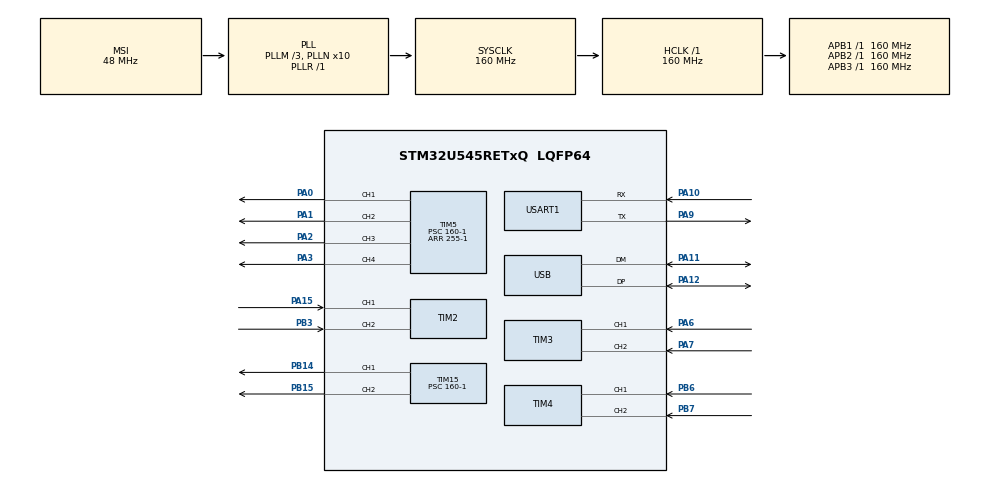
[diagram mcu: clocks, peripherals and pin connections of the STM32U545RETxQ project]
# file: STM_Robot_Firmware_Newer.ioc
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CORTEX_M33_NS.userName=CORTEX_M33
Mcu.Family=STM32U5
Mcu.Name=STM32U545RETxQ
Mcu.Package=LQFP64
NVIC.PriorityGroup=NVIC_PRIORITYGROUP_4
NVIC.TIM2_IRQn=true\:0\:0\:false\:false\:true\:false\:true\:true\:true
NVIC.TIM3_IRQn=true\:0\:0\:false\:false\:true\:false\:true\:true\:true
NVIC.TIM4_IRQn=true\:0\:0\:false\:false\:true\:false\:true\:true\:true
NVIC.TIM6_IRQn=true\:15\:0\:false\:false\:true\:false\:false\:true\:true
NVIC.TimeBase=TIM6_IRQn
NVIC.TimeBaseIP=TIM6
NVIC.USB_IRQn=true\:7\:0\:true\:false\:true\:false\:true\:true\:true
PA0.Signal=S_TIM5_CH1
PA1.Signal=S_TIM5_CH2
PA10.Mode=Asynchronous
PA10.Signal=USART1_RX
PA11.Mode=Device
PA11.Signal=USB_DM
PA12.Mode=Device
PA12.Signal=USB_DP
PA15\ (JTDI).Signal=S_TIM2_CH1
PA2.Signal=S_TIM5_CH3
PA3.Signal=S_TIM5_CH4
PA6.Signal=S_TIM3_CH1
PA7.Signal=S_TIM3_CH2
PA9.Mode=Asynchronous
PA9.Signal=USART1_TX
PB14.Signal=S_TIM15_CH1
PB15.Signal=S_TIM15_CH2
PB3\ (JTDO/TRACESWO).Signal=S_TIM2_CH2
PB6.Signal=S_TIM4_CH1
PB7.Signal=S_TIM4_CH2
PH0-OSC_IN\ (PH0).Mode=HSE-External-Clock-Source
PH0-OSC_IN\ (PH0).Signal=RCC_OSC_IN
PWR.PowerMode=PWR_SMPS_SUPPLY
ProjectManager.HeapSize=0x200
ProjectManager.StackSize=0x400
ProjectManager.TargetToolchain=STM32CubeIDE
RCC.ADCFreq_Value=16000000
RCC.AHBFreq_Value=160000000
RCC.APB1Freq_Value=160000000
RCC.APB1TimFreq_Value=160000000
RCC.APB2Freq_Value=160000000
RCC.APB2TimFreq_Value=160000000
RCC.APB3Freq_Value=160000000
RCC.CortexFreq_Value=160000000
RCC.DACCLockSelectionVirtual=RCC_DAC1CLKSOURCE_LSI
RCC.DACCLockSelectionVirtualString=RCC_DAC1CLKSOURCE_LSI
RCC.EPOD_VALUE=48000000
RCC.HCLKFreq_Value=160000000
RCC.HSE_VALUE=16000000
RCC.HSI48_VALUE=48000000
RCC.HSI_VALUE=16000000
RCC.LSE_VALUE=32768
RCC.LSIDIV_VALUE=32000
RCC.MSIClockRange=RCC_MSIRANGE_0
RCC.MSI_VALUE=48000000
RCC.PLL1R=1
RCC.PLL2FRACN=0
RCC.PLL3FRACN=0
RCC.PLLFRACN=0
RCC.PLLM=3
RCC.PLLN=10
RCC.SYSCLKFreq_VALUE=160000000
RCC.SYSCLKSource=RCC_SYSCLKSOURCE_PLLCLK
RCC.USBFreq_Value=48000000
RCC.VCOOutputFreq_Value=160000000
SH.S_TIM15_CH1.0=TIM15_CH1,PWM Generation1 CH1
SH.S_TIM15_CH2.0=TIM15_CH2,PWM Generation2 CH2
SH.S_TIM2_CH1.0=TIM2_CH1,Encoder_Interface
SH.S_TIM2_CH2.0=TIM2_CH2,Encoder_Interface
SH.S_TIM3_CH1.0=TIM3_CH1,Encoder_Interface
SH.S_TIM3_CH2.0=TIM3_CH2,Encoder_Interface
SH.S_TIM4_CH1.0=TIM4_CH1,Encoder_Interface
SH.S_TIM4_CH2.0=TIM4_CH2,Encoder_Interface
SH.S_TIM5_CH1.0=TIM5_CH1,PWM Generation1 CH1
SH.S_TIM5_CH2.0=TIM5_CH2,PWM Generation2 CH2
SH.S_TIM5_CH3.0=TIM5_CH3,PWM Generation3 CH3
SH.S_TIM5_CH4.0=TIM5_CH4,PWM Generation4 CH4
TIM15.Channel-PWM\ Generation1\ CH1=TIM_CHANNEL_1
TIM15.Channel-PWM\ Generation2\ CH2=TIM_CHANNEL_2
TIM15.PeriodNoDither=255-1
TIM15.Prescaler=160-1
TIM2.EncoderMode=TIM_ENCODERMODE_TI12
TIM3.EncoderMode=TIM_ENCODERMODE_TI12
TIM4.EncoderMode=TIM_ENCODERMODE_TI12
TIM5.Channel-PWM\ Generation1\ CH1=TIM_CHANNEL_1
TIM5.Channel-PWM\ Generation2\ CH2=TIM_CHANNEL_2
TIM5.Channel-PWM\ Generation3\ CH3=TIM_CHANNEL_3
TIM5.Channel-PWM\ Generation4\ CH4=TIM_CHANNEL_4
TIM5.PeriodNoDither=255-1
TIM5.Prescaler=160-1
USART1.VirtualMode-Asynchronous=VM_ASYNC
USBX.Core_System=1
USBX.MAX_POWER_IN_MILLI_AMPER=0
USBX.USBD_CDCACM_EPINCMD_ADDR=2
USBX.USBD_CDCACM_EPIN_ADDR=1
USBX.USBD_PID=22336
USBX.USBD_PRODUCT_STRING=STM32 Virtual ComPort
USBX.USBD_SERIAL_NUMBER=CDC_ACM001
USBX.USBX_DEVICE_SYS_SIZE=6*1024
USBX.UX_DEVICE_APP_MEM_POOL_SIZE=15*1024
USBX.UX_DEVICE_CDC_ACM=1
USBX.UX_DEVICE_CLASS_CDC_ACM_WRITE_AUTO_ZLP=1
USBX.UX_Device_Controller=1
USBX.UX_Device_CoreStack=1
USBX.UX_MAX_SLAVE_CLASS_DRIVER=1
USBX.UX_SLAVE_REQUEST_DATA_MAX_LENGTH=512
VP_ICACHE_VS_ICACHE.Mode=DirectMappedCache
VP_LPBAMQUEUE_VS_QUEUE.Mode=QUEUEMODE
VP_LPBAM_VS_SIG1.Mode=SmartRun
VP_LPBAM_VS_SIG4.Mode=LPDMA1
VP_MEMORYMAP_VS_MEMORYMAP.Mode=CurAppReg
VP_PWR_VS_DBSignals.Mode=DisableDeadBatterySignals
VP_PWR_VS_LPOM.Mode=PowerOptimisation
VP_PWR_VS_SECSignals.Mode=Security/Privilege
VP_RCC_USB.Mode=CRS SYNC Source USB
VP_SYS_VS_tim6.Mode=TIM6
VP_THREADX_VS_RTOSJjThreadXJjCoreJjDefault.Mode=Core_Default
VP_TIM15_VS_ClockSourceINT.Mode=Internal
VP_TIM5_VS_ClockSourceINT.Mode=Internal
VP_USBX_Core_System.Mode=Core_System
VP_USBX_UX\ Device\ CDC\ ACM\ Class_FS.Mode=UX_Device_class_CDC_ACM_FS
VP_USBX_UX\ Device\ Controller_FS.Mode=UX_Device_Controller_FS
VP_USBX_UX\ Device\ CoreStack_FS.Mode=UX_Device_CoreStack_FS
board=custom

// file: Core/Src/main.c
/* USER CODE BEGIN Header */
/**
  ******************************************************************************
  * @file           : main.c
  * @brief          : Main program body
  ******************************************************************************
  * @attention
  *
  * Copyright (c) 2025 STMicroelectronics.
  * All rights reserved.
  *
  * This software is licensed under terms that can be found in the LICENSE file
  * in the root directory of this software component.
  * If no LICENSE file comes with this software, it is provided AS-IS.
  *
  ******************************************************************************
  */
/* USER CODE END Header */
#include "app_threadx.h"
#include "main.h"

/* USER CODE BEGIN Includes */

#include "pin_mapping.h"
#include "robot_data.h"
#include "stdio.h"

/* USER CODE END Includes */

TIM_HandleTypeDef htim2;
TIM_HandleTypeDef htim3;
TIM_HandleTypeDef htim4;
TIM_HandleTypeDef htim5;
TIM_HandleTypeDef htim15;

UART_HandleTypeDef huart1;

PCD_HandleTypeDef hpcd_USB_DRD_FS;

/* USER CODE BEGIN PV */

MotorData motors_data[3];

/* USER CODE END PV */

void SystemClock_Config(void);
static void SystemPower_Config(void);
static void MX_GPIO_Init(void);
static void MX_ICACHE_Init(void);
static void MX_TIM2_Init(void);
static void MX_TIM3_Init(void);
static void MX_TIM4_Init(void);
static void MX_TIM5_Init(void);
static void MX_TIM15_Init(void);
static void MX_USART1_UART_Init(void);

/* USER CODE BEGIN 0 */

void HAL_TIM_IC_CaptureCallback(TIM_HandleTypeDef *htim)
{
	if(htim == ENCODER_0)
	{
		motors_data[0].encoder_actual_count = __HAL_TIM_GET_COUNTER(htim)/4;
		if(ENCODERS_DIRECTION[0] == -1)
		{
			motors_data[0].encoder_actual_count = 0xFFFFFFFF/4 - motors_data[0].encoder_actual_count;
		}
	}
	else if (htim == ENCODER_1)
	{
		motors_data[1].encoder_actual_count = __HAL_TIM_GET_COUNTER(htim)/4;
		if(ENCODERS_DIRECTION[1] == -1)
		{
			motors_data[1].encoder_actual_count = 0xFFFFFFFF/4 - __HAL_TIM_GET_COUNTER(htim)/4;
		}
		else motors_data[1].encoder_actual_count = __HAL_TIM_GET_COUNTER(htim)/4;
	}
	else
	{
		motors_data[2].encoder_actual_count = __HAL_TIM_GET_COUNTER(htim)/4;
		if(ENCODERS_DIRECTION[2] == -1)
		{
			motors_data[2].encoder_actual_count = 0xFFFFFFFF/4 - motors_data[2].encoder_actual_count;
		}

	}
}

/* USER CODE END 0 */

int main(void)
{

  /* MCU Configuration--------------------------------------------------------*/

  /* Reset of all peripherals, Initializes the Flash interface and the Systick. */
  HAL_Init();

  /* USER CODE BEGIN Init */

  Init_Motors_Data();

  /* USER CODE END Init */

  /* Configure the System Power */
  SystemPower_Config();

  /* Configure the system clock */
  SystemClock_Config();

  /* Initialize all configured peripherals */
  MX_GPIO_Init();
  MX_ICACHE_Init();
  MX_TIM2_Init();
  MX_TIM3_Init();
  MX_TIM4_Init();
  MX_TIM5_Init();
  MX_TIM15_Init();
  MX_USART1_UART_Init();
  /* USER CODE BEGIN 2 */

	HAL_TIM_Encoder_Start_IT(ENCODER_0, TIM_CHANNEL_ALL);
	HAL_TIM_Encoder_Start_IT(ENCODER_1, TIM_CHANNEL_ALL);
	HAL_TIM_Encoder_Start_IT(ENCODER_2, TIM_CHANNEL_ALL);

  HAL_TIM_PWM_Start(&htim5, TIM_CHANNEL_1);
  HAL_TIM_PWM_Start(&htim5, TIM_CHANNEL_2);
  HAL_TIM_PWM_Start(&htim5, TIM_CHANNEL_3);
  HAL_TIM_PWM_Start(&htim5, TIM_CHANNEL_4);
  HAL_TIM_PWM_Start(&htim15, TIM_CHANNEL_1);
  HAL_TIM_PWM_Start(&htim15, TIM_CHANNEL_2);

//  int test = 1;
//  printf((char* )test);
//  HAL_UART_Transmit(&huart1,(uint8_t *)"\r", sizeof("\r"), 1000);
  /* USER CODE END 2 */

  MX_ThreadX_Init();

  /* We should never get here as control is now taken by the scheduler */

  /* Infinite loop */
  while (1)
  {

  }
}

void SystemClock_Config(void)
{
  RCC_OscInitTypeDef RCC_OscInitStruct = {0};
  RCC_ClkInitTypeDef RCC_ClkInitStruct = {0};
  RCC_CRSInitTypeDef RCC_CRSInitStruct = {0};

  /** Configure the main internal regulator output voltage
  */
  if (HAL_PWREx_ControlVoltageScaling(PWR_REGULATOR_VOLTAGE_SCALE1) != HAL_OK)
  {
    Error_Handler();
  }

  /** Initializes the CPU, AHB and APB buses clocks
  */
  RCC_OscInitStruct.OscillatorType = RCC_OSCILLATORTYPE_HSI48|RCC_OSCILLATORTYPE_MSI;
  RCC_OscInitStruct.HSI48State = RCC_HSI48_ON;
  RCC_OscInitStruct.MSIState = RCC_MSI_ON;
  RCC_OscInitStruct.MSICalibrationValue = RCC_MSICALIBRATION_DEFAULT;
  RCC_OscInitStruct.MSIClockRange = RCC_MSIRANGE_0;
  RCC_OscInitStruct.PLL.PLLState = RCC_PLL_ON;
  RCC_OscInitStruct.PLL.PLLSource = RCC_PLLSOURCE_MSI;
  RCC_OscInitStruct.PLL.PLLMBOOST = RCC_PLLMBOOST_DIV4;
  RCC_OscInitStruct.PLL.PLLM = 3;
  RCC_OscInitStruct.PLL.PLLN = 10;
  RCC_OscInitStruct.PLL.PLLP = 2;
  RCC_OscInitStruct.PLL.PLLQ = 2;
  RCC_OscInitStruct.PLL.PLLR = 1;
  RCC_OscInitStruct.PLL.PLLRGE = RCC_PLLVCIRANGE_1;
  RCC_OscInitStruct.PLL.PLLFRACN = 0;
  if (HAL_RCC_OscConfig(&RCC_OscInitStruct) != HAL_OK)
  {
    Error_Handler();
  }

  /** Initializes the CPU, AHB and APB buses clocks
  */
  RCC_ClkInitStruct.ClockType = RCC_CLOCKTYPE_HCLK|RCC_CLOCKTYPE_SYSCLK
                              |RCC_CLOCKTYPE_PCLK1|RCC_CLOCKTYPE_PCLK2
                              |RCC_CLOCKTYPE_PCLK3;
  RCC_ClkInitStruct.SYSCLKSource = RCC_SYSCLKSOURCE_PLLCLK;
  RCC_ClkInitStruct.AHBCLKDivider = RCC_SYSCLK_DIV1;
  RCC_ClkInitStruct.APB1CLKDivider = RCC_HCLK_DIV1;
  RCC_ClkInitStruct.APB2CLKDivider = RCC_HCLK_DIV1;
  RCC_ClkInitStruct.APB3CLKDivider = RCC_HCLK_DIV1;

  if (HAL_RCC_ClockConfig(&RCC_ClkInitStruct, FLASH_LATENCY_4) != HAL_OK)
  {
    Error_Handler();
  }

  /** Enable the SYSCFG APB clock
  */
  __HAL_RCC_CRS_CLK_ENABLE();

  /** Configures CRS
  */
  RCC_CRSInitStruct.Prescaler = RCC_CRS_SYNC_DIV1;
  RCC_CRSInitStruct.Source = RCC_CRS_SYNC_SOURCE_USB;
  RCC_CRSInitStruct.Polarity = RCC_CRS_SYNC_POLARITY_RISING;
  RCC_CRSInitStruct.ReloadValue = __HAL_RCC_CRS_RELOADVALUE_CALCULATE(48000000,1000);
  RCC_CRSInitStruct.ErrorLimitValue = 34;
  RCC_CRSInitStruct.HSI48CalibrationValue = 32;

  HAL_RCCEx_CRSConfig(&RCC_CRSInitStruct);
}

/**
  * @brief Power Configuration
  * @retval None
  */
static void SystemPower_Config(void)
{

  /*
   * Switch to SMPS regulator instead of LDO
   */
  if (HAL_PWREx_ConfigSupply(PWR_SMPS_SUPPLY) != HAL_OK)
  {
    Error_Handler();
  }
}

static void MX_ICACHE_Init(void)
{

  /** Enable instruction cache in 1-way (direct mapped cache)
  */
  if (HAL_ICACHE_ConfigAssociativityMode(ICACHE_1WAY) != HAL_OK)
  {
    Error_Handler();
  }
  if (HAL_ICACHE_Enable() != HAL_OK)
  {
    Error_Handler();
  }

}

static void MX_TIM2_Init(void)
{

  TIM_Encoder_InitTypeDef sConfig = {0};
  TIM_MasterConfigTypeDef sMasterConfig = {0};

  htim2.Instance = TIM2;
  htim2.Init.Prescaler = 0;
  htim2.Init.CounterMode = TIM_COUNTERMODE_UP;
  htim2.Init.Period = 4294967295;
  htim2.Init.ClockDivision = TIM_CLOCKDIVISION_DIV1;
  htim2.Init.AutoReloadPreload = TIM_AUTORELOAD_PRELOAD_DISABLE;
  sConfig.EncoderMode = TIM_ENCODERMODE_TI12;
  sConfig.IC1Polarity = TIM_ICPOLARITY_RISING;
  sConfig.IC1Selection = TIM_ICSELECTION_DIRECTTI;
  sConfig.IC1Prescaler = TIM_ICPSC_DIV1;
  sConfig.IC1Filter = 0;
  sConfig.IC2Polarity = TIM_ICPOLARITY_RISING;
  sConfig.IC2Selection = TIM_ICSELECTION_DIRECTTI;
  sConfig.IC2Prescaler = TIM_ICPSC_DIV1;
  sConfig.IC2Filter = 0;
  if (HAL_TIM_Encoder_Init(&htim2, &sConfig) != HAL_OK)
  {
    Error_Handler();
  }
  sMasterConfig.MasterOutputTrigger = TIM_TRGO_RESET;
  sMasterConfig.MasterSlaveMode = TIM_MASTERSLAVEMODE_DISABLE;
  if (HAL_TIMEx_MasterConfigSynchronization(&htim2, &sMasterConfig) != HAL_OK)
  {
    Error_Handler();
  }

}

static void MX_TIM3_Init(void)
{

  TIM_Encoder_InitTypeDef sConfig = {0};
  TIM_MasterConfigTypeDef sMasterConfig = {0};

  htim3.Instance = TIM3;
  htim3.Init.Prescaler = 0;
  htim3.Init.CounterMode = TIM_COUNTERMODE_UP;
  htim3.Init.Period = 4294967295;
  htim3.Init.ClockDivision = TIM_CLOCKDIVISION_DIV1;
  htim3.Init.AutoReloadPreload = TIM_AUTORELOAD_PRELOAD_DISABLE;
  sConfig.EncoderMode = TIM_ENCODERMODE_TI12;
  sConfig.IC1Polarity = TIM_ICPOLARITY_RISING;
  sConfig.IC1Selection = TIM_ICSELECTION_DIRECTTI;
  sConfig.IC1Prescaler = TIM_ICPSC_DIV1;
  sConfig.IC1Filter = 0;
  sConfig.IC2Polarity = TIM_ICPOLARITY_RISING;
  sConfig.IC2Selection = TIM_ICSELECTION_DIRECTTI;
  sConfig.IC2Prescaler = TIM_ICPSC_DIV1;
  sConfig.IC2Filter = 0;
  if (HAL_TIM_Encoder_Init(&htim3, &sConfig) != HAL_OK)
  {
    Error_Handler();
  }
  sMasterConfig.MasterOutputTrigger = TIM_TRGO_RESET;
  sMasterConfig.MasterSlaveMode = TIM_MASTERSLAVEMODE_DISABLE;
  if (HAL_TIMEx_MasterConfigSynchronization(&htim3, &sMasterConfig) != HAL_OK)
  {
    Error_Handler();
  }

}

static void MX_TIM4_Init(void)
{

  TIM_Encoder_InitTypeDef sConfig = {0};
  TIM_MasterConfigTypeDef sMasterConfig = {0};

  htim4.Instance = TIM4;
  htim4.Init.Prescaler = 0;
  htim4.Init.CounterMode = TIM_COUNTERMODE_UP;
  htim4.Init.Period = 4294967295;
  htim4.Init.ClockDivision = TIM_CLOCKDIVISION_DIV1;
  htim4.Init.AutoReloadPreload = TIM_AUTORELOAD_PRELOAD_DISABLE;
  sConfig.EncoderMode = TIM_ENCODERMODE_TI12;
  sConfig.IC1Polarity = TIM_ICPOLARITY_RISING;
  sConfig.IC1Selection = TIM_ICSELECTION_DIRECTTI;
  sConfig.IC1Prescaler = TIM_ICPSC_DIV1;
  sConfig.IC1Filter = 0;
  sConfig.IC2Polarity = TIM_ICPOLARITY_RISING;
  sConfig.IC2Selection = TIM_ICSELECTION_DIRECTTI;
  sConfig.IC2Prescaler = TIM_ICPSC_DIV1;
  sConfig.IC2Filter = 0;
  if (HAL_TIM_Encoder_Init(&htim4, &sConfig) != HAL_OK)
  {
    Error_Handler();
  }
  sMasterConfig.MasterOutputTrigger = TIM_TRGO_RESET;
  sMasterConfig.MasterSlaveMode = TIM_MASTERSLAVEMODE_DISABLE;
  if (HAL_TIMEx_MasterConfigSynchronization(&htim4, &sMasterConfig) != HAL_OK)
  {
    Error_Handler();
  }

}

static void MX_TIM5_Init(void)
{

  TIM_ClockConfigTypeDef sClockSourceConfig = {0};
  TIM_MasterConfigTypeDef sMasterConfig = {0};
  TIM_OC_InitTypeDef sConfigOC = {0};

  htim5.Instance = TIM5;
  htim5.Init.Prescaler = 160-1;
  htim5.Init.CounterMode = TIM_COUNTERMODE_UP;
  htim5.Init.Period = 254;
  htim5.Init.ClockDivision = TIM_CLOCKDIVISION_DIV1;
  htim5.Init.AutoReloadPreload = TIM_AUTORELOAD_PRELOAD_DISABLE;
  if (HAL_TIM_Base_Init(&htim5) != HAL_OK)
  {
    Error_Handler();
  }
  sClockSourceConfig.ClockSource = TIM_CLOCKSOURCE_INTERNAL;
  if (HAL_TIM_ConfigClockSource(&htim5, &sClockSourceConfig) != HAL_OK)
  {
    Error_Handler();
  }
  if (HAL_TIM_PWM_Init(&htim5) != HAL_OK)
  {
    Error_Handler();
  }
  sMasterConfig.MasterOutputTrigger = TIM_TRGO_RESET;
  sMasterConfig.MasterSlaveMode = TIM_MASTERSLAVEMODE_DISABLE;
  if (HAL_TIMEx_MasterConfigSynchronization(&htim5, &sMasterConfig) != HAL_OK)
  {
    Error_Handler();
  }
  sConfigOC.OCMode = TIM_OCMODE_PWM1;
  sConfigOC.Pulse = 0;
  sConfigOC.OCPolarity = TIM_OCPOLARITY_HIGH;
  sConfigOC.OCFastMode = TIM_OCFAST_DISABLE;
  if (HAL_TIM_PWM_ConfigChannel(&htim5, &sConfigOC, TIM_CHANNEL_1) != HAL_OK)
  {
    Error_Handler();
  }
  if (HAL_TIM_PWM_ConfigChannel(&htim5, &sConfigOC, TIM_CHANNEL_2) != HAL_OK)
  {
    Error_Handler();
  }
  if (HAL_TIM_PWM_ConfigChannel(&htim5, &sConfigOC, TIM_CHANNEL_3) != HAL_OK)
  {
    Error_Handler();
  }
  if (HAL_TIM_PWM_ConfigChannel(&htim5, &sConfigOC, TIM_CHANNEL_4) != HAL_OK)
  {
    Error_Handler();
  }
  HAL_TIM_MspPostInit(&htim5);

}

static void MX_TIM15_Init(void)
{

  TIM_ClockConfigTypeDef sClockSourceConfig = {0};
  TIM_MasterConfigTypeDef sMasterConfig = {0};
  TIM_OC_InitTypeDef sConfigOC = {0};
  TIM_BreakDeadTimeConfigTypeDef sBreakDeadTimeConfig = {0};

  htim15.Instance = TIM15;
  htim15.Init.Prescaler = 160-1;
  htim15.Init.CounterMode = TIM_COUNTERMODE_UP;
  htim15.Init.Period = 254;
  htim15.Init.ClockDivision = TIM_CLOCKDIVISION_DIV1;
  htim15.Init.RepetitionCounter = 0;
  htim15.Init.AutoReloadPreload = TIM_AUTORELOAD_PRELOAD_DISABLE;
  if (HAL_TIM_Base_Init(&htim15) != HAL_OK)
  {
    Error_Handler();
  }
  sClockSourceConfig.ClockSource = TIM_CLOCKSOURCE_INTERNAL;
  if (HAL_TIM_ConfigClockSource(&htim15, &sClockSourceConfig) != HAL_OK)
  {
    Error_Handler();
  }
  if (HAL_TIM_PWM_Init(&htim15) != HAL_OK)
  {
    Error_Handler();
  }
  sMasterConfig.MasterOutputTrigger = TIM_TRGO_RESET;
  sMasterConfig.MasterSlaveMode = TIM_MASTERSLAVEMODE_DISABLE;
  if (HAL_TIMEx_MasterConfigSynchronization(&htim15, &sMasterConfig) != HAL_OK)
  {
    Error_Handler();
  }
  sConfigOC.OCMode = TIM_OCMODE_PWM1;
  sConfigOC.Pulse = 0;
  sConfigOC.OCPolarity = TIM_OCPOLARITY_HIGH;
  sConfigOC.OCNPolarity = TIM_OCNPOLARITY_HIGH;
  sConfigOC.OCFastMode = TIM_OCFAST_DISABLE;
  sConfigOC.OCIdleState = TIM_OCIDLESTATE_RESET;
  sConfigOC.OCNIdleState = TIM_OCNIDLESTATE_RESET;
  if (HAL_TIM_PWM_ConfigChannel(&htim15, &sConfigOC, TIM_CHANNEL_1) != HAL_OK)
  {
    Error_Handler();
  }
  if (HAL_TIM_PWM_ConfigChannel(&htim15, &sConfigOC, TIM_CHANNEL_2) != HAL_OK)
  {
    Error_Handler();
  }
  sBreakDeadTimeConfig.OffStateRunMode = TIM_OSSR_DISABLE;
  sBreakDeadTimeConfig.OffStateIDLEMode = TIM_OSSI_DISABLE;
  sBreakDeadTimeConfig.LockLevel = TIM_LOCKLEVEL_OFF;
  sBreakDeadTimeConfig.DeadTime = 0;
  sBreakDeadTimeConfig.BreakState = TIM_BREAK_DISABLE;
  sBreakDeadTimeConfig.BreakPolarity = TIM_BREAKPOLARITY_HIGH;
  sBreakDeadTimeConfig.BreakFilter = 0;
  sBreakDeadTimeConfig.AutomaticOutput = TIM_AUTOMATICOUTPUT_DISABLE;
  if (HAL_TIMEx_ConfigBreakDeadTime(&htim15, &sBreakDeadTimeConfig) != HAL_OK)
  {
    Error_Handler();
  }
  HAL_TIM_MspPostInit(&htim15);

}

static void MX_USART1_UART_Init(void)
{

  huart1.Instance = USART1;
  huart1.Init.BaudRate = 115200;
  huart1.Init.WordLength = UART_WORDLENGTH_8B;
  huart1.Init.StopBits = UART_STOPBITS_1;
  huart1.Init.Parity = UART_PARITY_NONE;
  huart1.Init.Mode = UART_MODE_TX_RX;
  huart1.Init.HwFlowCtl = UART_HWCONTROL_NONE;
  huart1.Init.OverSampling = UART_OVERSAMPLING_16;
  huart1.Init.OneBitSampling = UART_ONE_BIT_SAMPLE_DISABLE;
  huart1.Init.ClockPrescaler = UART_PRESCALER_DIV1;
  huart1.AdvancedInit.AdvFeatureInit = UART_ADVFEATURE_NO_INIT;
  if (HAL_UART_Init(&huart1) != HAL_OK)
  {
    Error_Handler();
  }
  if (HAL_UARTEx_SetTxFifoThreshold(&huart1, UART_TXFIFO_THRESHOLD_1_8) != HAL_OK)
  {
    Error_Handler();
  }
  if (HAL_UARTEx_SetRxFifoThreshold(&huart1, UART_RXFIFO_THRESHOLD_1_8) != HAL_OK)
  {
    Error_Handler();
  }
  if (HAL_UARTEx_DisableFifoMode(&huart1) != HAL_OK)
  {
    Error_Handler();
  }

}

void MX_USB_DRD_FS_PCD_Init(void)
{

  hpcd_USB_DRD_FS.Instance = USB_DRD_FS;
  hpcd_USB_DRD_FS.Init.dev_endpoints = 8;
  hpcd_USB_DRD_FS.Init.speed = PCD_SPEED_FULL;
  hpcd_USB_DRD_FS.Init.phy_itface = PCD_PHY_EMBEDDED;
  hpcd_USB_DRD_FS.Init.Sof_enable = DISABLE;
  hpcd_USB_DRD_FS.Init.low_power_enable = DISABLE;
  hpcd_USB_DRD_FS.Init.lpm_enable = DISABLE;
  hpcd_USB_DRD_FS.Init.battery_charging_enable = DISABLE;
  hpcd_USB_DRD_FS.Init.vbus_sensing_enable = DISABLE;
  hpcd_USB_DRD_FS.Init.bulk_doublebuffer_enable = DISABLE;
  hpcd_USB_DRD_FS.Init.iso_singlebuffer_enable = DISABLE;
  if (HAL_PCD_Init(&hpcd_USB_DRD_FS) != HAL_OK)
  {
    Error_Handler();
  }

}

static void MX_GPIO_Init(void)
{

  /* GPIO Ports Clock Enable */
  __HAL_RCC_GPIOH_CLK_ENABLE();
  __HAL_RCC_GPIOA_CLK_ENABLE();
  __HAL_RCC_GPIOB_CLK_ENABLE();

}

/* USER CODE BEGIN 4 */
/**
  * @brief  Retargets the C library printf function to the USART.
  *   None
  * @retval None
  */
PUTCHAR_PROTOTYPE
{
  /* Place your implementation of fputc here */
  /* e.g. write a character to the USART1 and Loop until the end of transmission */
  HAL_UART_Transmit(&huart1, (uint8_t *)&ch, 1, 0xFFFF);
//  HAL_UART_Transmit(&huart1, (uint8_t *)"\r", 2, 0xFFFF);

  return ch;
}/* USER CODE END 4 */

void HAL_TIM_PeriodElapsedCallback(TIM_HandleTypeDef *htim)
{
  if (htim->Instance == TIM6) {
    HAL_IncTick();
  }
}

void Error_Handler(void)
{
  __disable_irq();
  while (1)
  {
  }
}
